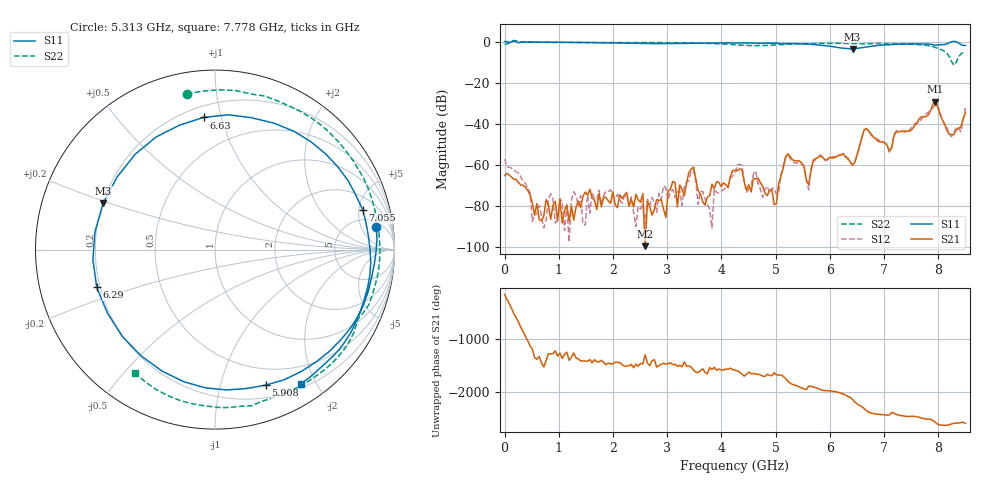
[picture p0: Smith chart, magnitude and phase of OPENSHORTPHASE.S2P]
!Agilent Technologies,E5071C,MY46101104,A.08.01
!Date: Mon Jan 01 00:38:59 2001
!Data & Calibration Information:
!Freq	S11:SOLT2(ON)	S21:SOLT2(ON)	S12:SOLT2(ON)	S22:SOLT2(ON)
# Hz S RI R 50
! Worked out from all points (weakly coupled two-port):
!   201 points, 100 kHz to 8.5 GHz, reference 50 ohm
!   highest |S21| = -29.14 dB at 7.948 GHz (marker M1); lowest = -99.6 dB at 2.593 GHz (marker M2)
!   lowest |S11| = -3.4 dB at 6.418 GHz (marker M3), VSWR 5.13, Z = 10.1 + j9.58 ohm
!   |S11| at or under -10 dB: nowhere
!   |S22| runs from -11.3 to 0.7 dB; largest |S21 - S12| = 0.0075
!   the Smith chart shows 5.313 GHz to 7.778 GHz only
!   S11 on the Smith chart (normalised r, x): 5.313 GHz: 7, +10; 5.908 GHz: 0.32, -1.39; 6.29 GHz: 0.19, -0.15; 6.63 GHz: 0.27, +0.88; 7.055 GHz: 3.41, +5.52; 7.778 GHz: 0.25, -1.80
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100000  1.011 -0.087  -0.000495 -0.000233  0.00135 -0.00026  -0.8804 -0.0214
6.80092e8  -0.0783 -0.9814  4.34e-05 -1.22e-06  -5.7e-05 -7.79e-07  0.1286 0.9659
1.445083e9  -0.9349 0.2422  0.000146 8.92e-05  2.32e-05 2.77e-05  0.7689 -0.5717
2.040076e9  0.1079 0.9358  0.000105 1.37e-05  0.000148 -2.43e-05  -0.5207 -0.8035
2.59257e9  0.8971 -0.1523  -8.83e-06 5.55e-06  3.35e-05 1.51e-05  -0.9411 0.1693
2.847566e9  0.4931 -0.7586  7.48e-05 -0.000113  0.000197 3.79e-05  -0.7525 0.5878
3.485059e9  -0.8821 -0.2736  -0.000702 -0.000537  -0.000566 -0.000474  0.2574 0.8942
3.697556e9  -0.9131 0.1777  -0.000106 6.14e-06  -9.19e-05 -0.000116  0.6039 0.6914
4.25005e9  -0.2909 0.8916  -0.000565 -0.000462  -0.000442 -0.000438  0.7118 -0.4672
4.845043e9  0.5662 0.7352  -0.000138 0.000112  -0.000111 0.000283  -0.8067 -0.1203
5.312538e9  0.8984 0.1275  0.000819 -0.00105  0.000634 -0.000983  -0.1572 0.8681
5.695033e9  0.6959 -0.508  -0.000208 -0.00129  -0.000117 -0.00115  0.5394 0.7314
5.90753e9  0.283 -0.7551  -0.00132 -0.000256  -0.00122 -0.000312  0.768 0.4976
6.290026e9  -0.659 -0.2104  -0.000519 0.00144  -0.000484 0.00158  0.9194 0.00396
6.417524e9  -0.6223 0.2584  0.000886 0.000438  0.000903 0.000365  0.9042 -0.1527
6.630022e9  -0.0632 0.7366  -0.00559 -0.00429  -0.00558 -0.00425  0.797 -0.3867
7.055017e9  0.8232 0.2212  4.88e-05 0.00299  6e-05 0.00317  0.4854 -0.7556
7.097516e9  0.8417 0.1472  -0.000103 0.00214  -9.22e-05 0.00205  0.4407 -0.7774
7.777508e9  0.4779 -0.7484  0.0144 0.0044  0.017 0.00564  -0.4466 -0.6877
7.947506e9  0.3073 -0.7662  0.0235 -0.0258  0.0224 -0.0189  -0.625 -0.3755
8.245003e9  0.0964 -0.9994  0.00137 -0.00524  0.00117 -0.00471  -0.1283 0.3047
8.5e9  -0.3083 -0.7544  0.00839 -0.0163  0.0155 -0.0187  0.4969 -0.3081
